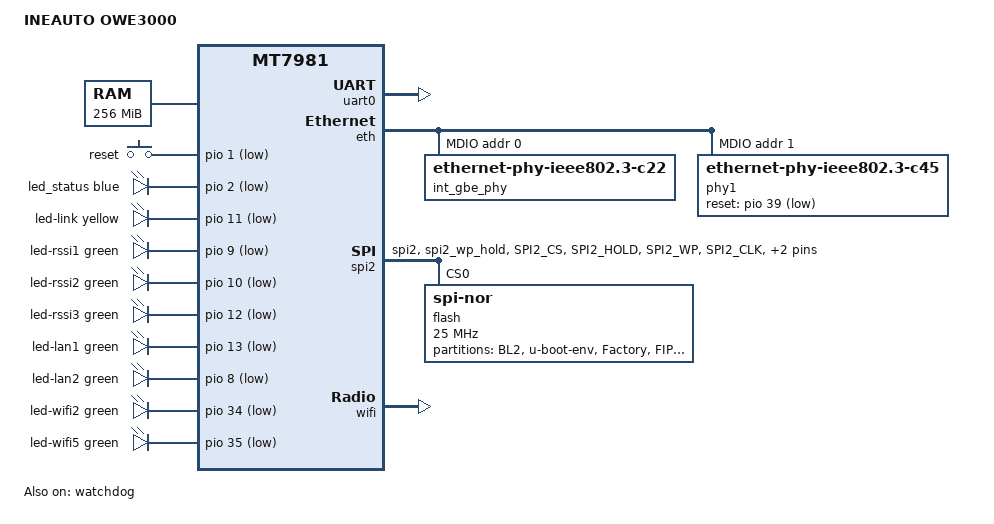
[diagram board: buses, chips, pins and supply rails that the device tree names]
// SPDX-License-Identifier: (GPL-2.0 OR MIT)

/dts-v1/;

#include <dt-bindings/leds/common.h>
#include <dt-bindings/input/input.h>
#include <dt-bindings/gpio/gpio.h>
#include <dt-bindings/pinctrl/mt65xx.h>

#include "mt7981b.dtsi"

/ {
	model = "INEAUTO OWE3000";
	compatible = "ineauto,owe3000", "mediatek,mt7981";

	aliases {
		label-mac-device = &gmac0;
		led-boot = &led_status;
		led-failsafe = &led_status;
		led-running = &led_status;
		led-upgrade = &led_status;
		serial0 = &uart0;
	};

	chosen {
		stdout-path = "serial0:115200n8";
	};

	memory@40000000 {
		device_type = "memory";
		reg = <0 0x40000000 0 0x10000000>;
	};

	keys {
		compatible = "gpio-keys";

		key-reset {
			label = "reset";
			linux,code = <KEY_RESTART>;
			gpios = <&pio 1 GPIO_ACTIVE_LOW>;
		};
	};

	leds {
		compatible = "gpio-leds";

		led_status: led-status {
			color = <LED_COLOR_ID_BLUE>;
			function = LED_FUNCTION_STATUS;
			gpios = <&pio 2 GPIO_ACTIVE_LOW>;
		};

		led-link {
			color = <LED_COLOR_ID_YELLOW>;
			function = LED_FUNCTION_STATUS;
			gpios = <&pio 11 GPIO_ACTIVE_LOW>;
		};

		led-rssi1 {
			color = <LED_COLOR_ID_GREEN>;
			function = LED_FUNCTION_INDICATOR;
			function-enumerator = <1>;
			gpios = <&pio 9 GPIO_ACTIVE_LOW>;
		};

		led-rssi2 {
			color = <LED_COLOR_ID_GREEN>;
			function = LED_FUNCTION_INDICATOR;
			function-enumerator = <2>;
			gpios = <&pio 10 GPIO_ACTIVE_LOW>;
		};

		led-rssi3 {
			color = <LED_COLOR_ID_GREEN>;
			function = LED_FUNCTION_INDICATOR;
			function-enumerator = <3>;
			gpios = <&pio 12 GPIO_ACTIVE_LOW>;
		};

		led-lan1 {
			color = <LED_COLOR_ID_GREEN>;
			function = LED_FUNCTION_LAN;
			function-enumerator = <1>;
			gpios = <&pio 13 GPIO_ACTIVE_LOW>;
		};

		led-lan2 {
			color = <LED_COLOR_ID_GREEN>;
			function = LED_FUNCTION_LAN;
			function-enumerator = <2>;
			gpios = <&pio 8 GPIO_ACTIVE_LOW>;
		};

		led-wifi2 {
			color = <LED_COLOR_ID_GREEN>;
			function = LED_FUNCTION_WLAN_2GHZ;
			gpios = <&pio 34 GPIO_ACTIVE_LOW>;
			linux,default-trigger = "phy0tpt";
		};

		led-wifi5 {
			color = <LED_COLOR_ID_GREEN>;
			function = LED_FUNCTION_WLAN_5GHZ;
			gpios = <&pio 35 GPIO_ACTIVE_LOW>;
			linux,default-trigger = "phy1tpt";
		};
	};
};

&uart0 {
	status = "okay";
};

&watchdog {
	status = "okay";
};

&eth {
	status = "okay";

	gmac0: mac@0 {
		compatible = "mediatek,eth-mac";
		reg = <0>;
		phy-mode = "2500base-x";
		phy-handle = <&phy1>;

		nvmem-cells = <&macaddr_factory_4 0>;
		nvmem-cell-names = "mac-address";
	};

	gmac1: mac@1 {
		compatible = "mediatek,eth-mac";
		reg = <1>;
		phy-mode = "gmii";
		phy-handle = <&int_gbe_phy>;

		nvmem-cells = <&macaddr_factory_4 1>;
		nvmem-cell-names = "mac-address";
	};

	mdio: mdio-bus {
		#address-cells = <1>;
		#size-cells = <0>;

		int_gbe_phy: ethernet-phy@0 {
			compatible = "ethernet-phy-ieee802.3-c22";
			reg = <0>;
			phy-mode = "gmii";
			phy-is-integrated;
			nvmem-cells = <&phy_calibration>;
			nvmem-cell-names = "phy-cal-data";
		};

		phy1: ethernet-phy@1 {
			compatible = "ethernet-phy-ieee802.3-c45";
			reg = <1>;
			phy-mode = "2500base-x";
			reset-gpios = <&pio 39 GPIO_ACTIVE_LOW>;
			reset-assert-us = <100000>;
			reset-deassert-us = <100000>;
			realtek,aldps-enable;
		};
	};
};

&spi2 {
	pinctrl-names = "default";
	pinctrl-0 = <&spi2_flash_pins>;
	status = "okay";

	flash@0 {
		compatible = "jedec,spi-nor";
		reg = <0>;
		spi-max-frequency = <25000000>;
		spi-tx-bus-width = <4>;
		spi-rx-bus-width = <4>;

		partitions {
			compatible = "fixed-partitions";
			#address-cells = <1>;
			#size-cells = <1>;

			partition@0 {
				label = "BL2";
				reg = <0x00000 0x40000>;
				read-only;
			};

			partition@40000 {
				label = "u-boot-env";
				reg = <0x40000 0x10000>;
			};

			partition@50000 {
				label = "Factory";
				reg = <0x50000 0xb0000>;
				read-only;

				nvmem-layout {
					compatible = "fixed-layout";
					#address-cells = <1>;
					#size-cells = <1>;

					eeprom_factory_0: eeprom@0 {
						reg = <0x0 0x1000>;
					};

					macaddr_factory_4: macaddr@4 {
						compatible = "mac-base";
						reg = <0x4 0x6>;
						#nvmem-cell-cells = <1>;
					};
				};
			};

			partition@100000 {
				label = "FIP";
				reg = <0x100000 0x80000>;
				read-only;
			};

			partition@180000 {
				compatible = "denx,fit";
				label = "firmware";
				reg = <0x180000 0xe00000>;
			};
		};
	};
};

&pio {
	spi2_flash_pins: spi2-pins {
		mux {
			function = "spi";
			groups = "spi2", "spi2_wp_hold";
		};

		conf-pu {
			pins = "SPI2_CS", "SPI2_HOLD", "SPI2_WP";
			drive-strength = <MTK_DRIVE_8mA>;
			bias-pull-up = <MTK_PUPD_SET_R1R0_11>;
		};

		conf-pd {
			pins = "SPI2_CLK", "SPI2_MOSI", "SPI2_MISO";
			drive-strength = <MTK_DRIVE_8mA>;
			bias-pull-down = <MTK_PUPD_SET_R1R0_11>;
		};
	};
};

&wifi {
	status = "okay";
	nvmem-cells = <&eeprom_factory_0>;
	nvmem-cell-names = "eeprom";
};
